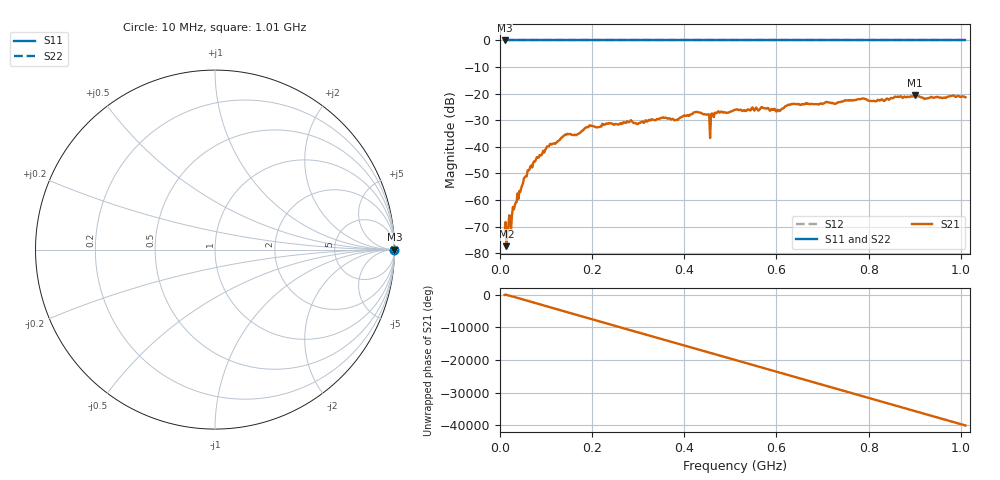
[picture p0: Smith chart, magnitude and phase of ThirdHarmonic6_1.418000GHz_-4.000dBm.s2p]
! 8/16/2025 4:17:14 PM
! C:\ANRITSUVNA\TEMP\TEMP.S2P
! CHANNEL.1
! TR.MEASUREMENT
! RAW.DATA
! RF.CORRECTION.OFF
! AVERAGING.OFF
! IF.BANDWIDTH: 5KHZ
! SWEEPTYPE:  FREQ.SWEEP(Linear)
! Reference Plane Port Info
! PORT:  PORT1  PORT2
! DISTANCE:  0  m  0  m
! TIME:  0  s  0  s
! PHASE.OFFSET:  0  deg.  0  deg.
! LOSS:  0  dB  0  dB
! REF.LOSS:  0  dB  0  dB
! REF.FREQ:  0  Hz  0  Hz
! Power Info
! POWER:  -20  dBm  -20  dBm
! EFF.POWER:  -20  dBm  -20  dBm
! SOURCE.ATTEN:  0  dB  0  dB
! TEST.ATTEN:  0  dB  0  dB
# GHZ S RI R 50.0
! FREQ.GHZ  S11RE  S11IM  S21RE  S21IM  S12RE  S12IM  S22RE  S22IM
!; PortSelection: Port_12
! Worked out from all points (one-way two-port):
!   501 points, 10 MHz to 1.01 GHz, reference 50 ohm
!   highest |S21| = -20.66 dB at 900 MHz (marker M1); lowest = -77.4 dB at 14 MHz (marker M2)
!   lowest |S11| = 0.0 dB at 10 MHz (marker M3)
!   |S11| at or under -10 dB: nowhere
!   |S22| runs from 0.0 to 0.0 dB; largest |S21 - S12| = 1.1
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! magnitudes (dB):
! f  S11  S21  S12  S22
! 10 MHz  0.0  -72.9  0.0  0.0
! 14 MHz  0.0  -77.4  0.0  0.0
! 52 MHz  0.0  -51.8  0.0  0.0
! 76 MHz  0.0  -45.5  0.0  0.0
! 106 MHz  0.0  -39.8  0.0  0.0
! 138 MHz  0.0  -35.9  0.0  0.0
! 178 MHz  0.0  -34.0  0.0  0.0
! 198 MHz  0.0  -32.1  0.0  0.0
! 344 MHz  0.0  -29.7  0.0  0.0
! 382 MHz  0.0  -29.9  0.0  0.0
! 426 MHz  0.0  -26.8  0.0  0.0
! 460 MHz  0.0  -27.5  0.0  0.0
! 462 MHz  0.0  -27.7  0.0  0.0
! 470 MHz  0.0  -27.3  0.0  0.0
! 510 MHz  0.0  -26.1  0.0  0.0
! 570 MHz  0.0  -25.2  0.0  0.0
! 604 MHz  0.0  -26.1  0.0  0.0
! 630 MHz  0.0  -24.2  0.0  0.0
! 678 MHz  0.0  -23.9  0.0  0.0
! 844 MHz  0.0  -22.3  0.0  0.0
! 900 MHz  0.0  -20.7  0.0  0.0
! 1.01 GHz  0.0  -21.4  0.0  0.0
